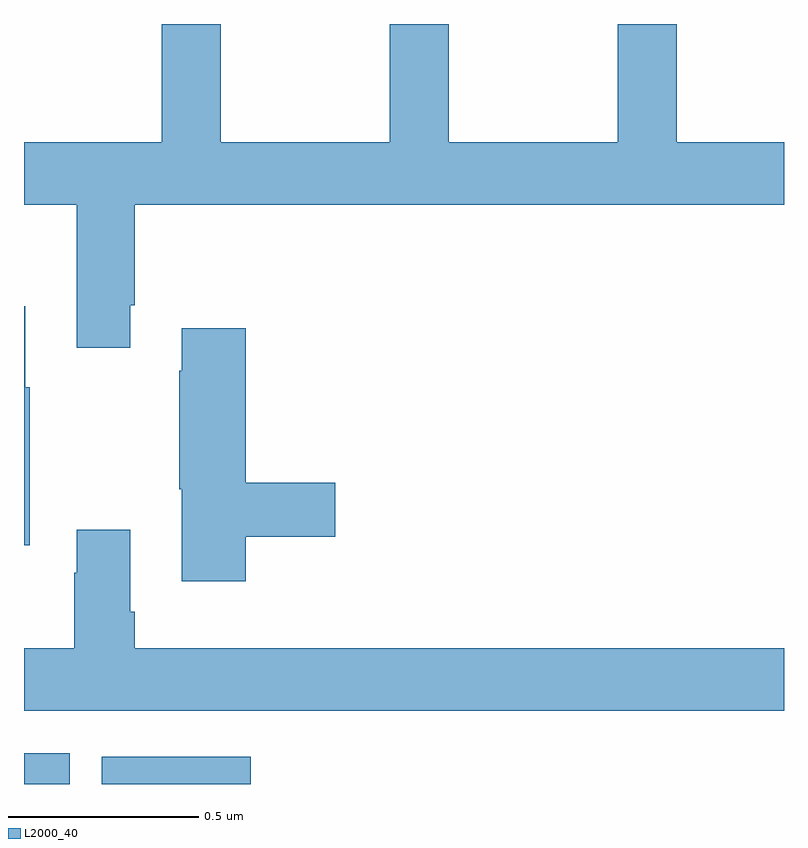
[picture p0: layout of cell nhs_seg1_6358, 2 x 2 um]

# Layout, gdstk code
import gdstk
lib = gdstk.Library(unit=1e-6, precision=1e-09)
def R(c, l, rs):  # rectangles x0, y0, x1, y1
    for r in rs: c.add(gdstk.rectangle(r[:2], r[2:], *l))
def P(c, l, *ps):  # polygons
    for p in ps: c.add(gdstk.Polygon(p, *l))
L2000_40 = (2000, 40)

nhs_seg1_6358 = lib.new_cell('nhs_seg1_6358')
R(nhs_seg1_6358, L2000_40, [(190,558.199,190.12,558.28), (190.205,558.199,190.597,558.271)])
P(nhs_seg1_6358, L2000_40, [(190.279,559.459),(190.292,559.459),(190.292,559.724),(192,559.724),(192,559.888),(191.718,559.888),(191.718,560.199),(191.563,560.199),(191.563,559.888),(191.118,559.888),(191.118,560.199),(190.963,560.199),(190.963,559.888),(190.518,559.888),(190.518,560.199),(190.363,560.199),(190.363,559.888),(190,559.888),(190,559.724),(190.139,559.724),(190.139,559.347),(190.279,559.347)],
  [(190.015,559.243),(190.003,559.243),(190.003,559.456),(190,559.456),(190,558.827),(190.015,558.827)],
  [(190.583,558.85),(190.819,558.85),(190.819,558.992),(190.583,558.992),(190.583,559.399),(190.415,559.399),(190.415,559.286),(190.408,559.286),(190.408,558.975),(190.415,558.975),(190.415,558.732),(190.583,558.732)],
  [(192,558.556),(190.292,558.556),(190.292,558.652),(190.279,558.652),(190.279,558.868),(190.139,558.868),(190.139,558.755),(190.132,558.755),(190.132,558.556),(190,558.556),(190,558.392),(192,558.392)])

lib.write_gds('nhs_seg1_6358.gds')
